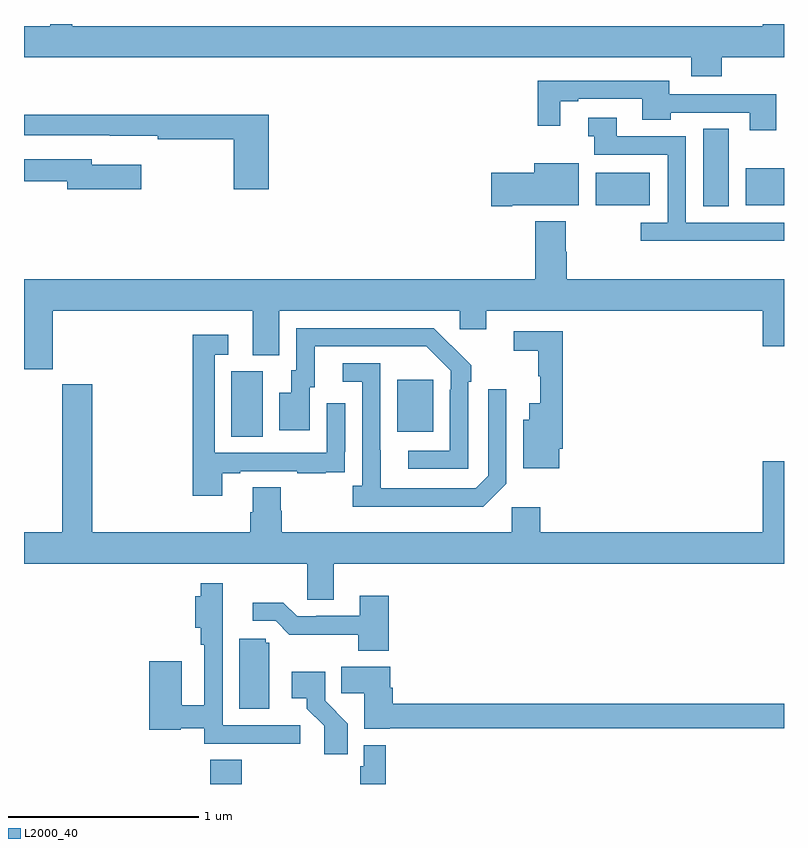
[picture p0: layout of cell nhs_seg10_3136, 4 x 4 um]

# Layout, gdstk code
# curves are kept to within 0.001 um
import gdstk
lib = gdstk.Library(unit=1e-6, precision=1e-09)
def R(c, l, rs):  # rectangles x0, y0, x1, y1
    for r in rs: c.add(gdstk.rectangle(r[:2], r[2:], *l))
def P(c, l, *ps):  # polygons
    for p in ps: c.add(gdstk.Polygon(p, *l))
L2000_40 = (2000, 40)

nhs_seg10_3136 = lib.new_cell('nhs_seg10_3136')
R(nhs_seg10_3136, L2000_40, [(281.981,1288.5,282.146,1288.628), (282.092,1290.328,282.256,1290.672), (282.965,1290.353,283.153,1290.628), (284.576,1291.54,284.71,1291.949), (284.009,1291.547,284.293,1291.717), (284.798,1291.547,285,1291.741)])
P(nhs_seg10_3136, L2000_40, [(284.673,1292.324),(285,1292.324),(285,1292.5),(284.888,1292.5),(284.888,1292.488),(281.255,1292.488),(281.255,1292.5),(281.138,1292.5),(281.138,1292.488),(281,1292.488),(281,1292.324),(284.513,1292.324),(284.513,1292.225),(284.673,1292.225)],
  [(284.959,1292.13),(284.395,1292.13),(284.395,1292.202),(283.705,1292.202),(283.705,1291.965),(283.822,1291.965),(283.822,1292.094),(283.918,1292.094),(283.918,1292.106),(284.255,1292.106),(284.255,1291.997),(284.403,1291.997),(284.403,1292.034),(284.819,1292.034),(284.819,1291.941),(284.959,1291.941)],
  [(282.287,1292.023),(281,1292.023),(281,1291.914),(281.452,1291.914),(281.452,1291.913),(281.704,1291.913),(281.704,1291.894),(282.104,1291.894),(282.104,1291.629),(282.287,1291.629)],
  [(284.999,1291.359),(285,1291.359),(285,1291.455),(284.484,1291.455),(284.484,1291.908),(284.119,1291.908),(284.119,1292.007),(283.971,1292.007),(283.971,1291.91),(284.002,1291.91),(284.002,1291.812),(284.388,1291.812),(284.388,1291.455),(284.247,1291.455),(284.247,1291.358),(284.999,1291.358)],
  [(281.617,1291.759),(281.356,1291.759),(281.356,1291.788),(281,1291.788),(281,1291.672),(281.228,1291.672),(281.228,1291.63),(281.617,1291.63)],
  [(283.57,1291.547),(283.921,1291.547),(283.921,1291.768),(283.685,1291.768),(283.685,1291.718),(283.458,1291.718),(283.458,1291.54),(283.57,1291.54)],
  [(281.152,1290.992),(282.203,1290.992),(282.203,1290.757),(282.343,1290.757),(282.343,1290.992),(283.293,1290.992),(283.293,1290.894),(283.432,1290.894),(283.432,1290.992),(284.888,1290.992),(284.888,1290.804),(285,1290.804),(285,1291.156),(283.856,1291.156),(283.856,1291.301),(283.851,1291.301),(283.851,1291.462),(283.691,1291.462),(283.691,1291.156),(281,1291.156),(281,1290.683),(281.152,1290.683)],
  [(283.338,1290.617),(283.353,1290.617),(283.353,1290.705),(283.156,1290.9),(282.432,1290.9),(282.432,1290.678),(282.407,1290.678),(282.407,1290.559),(282.344,1290.559),(282.344,1290.363),(282.505,1290.363),(282.505,1290.588),(282.529,1290.588),(282.529,1290.804),(283.117,1290.804),(283.245,1290.675),(283.245,1290.575),(283.242,1290.575),(283.242,1290.255),(283.023,1290.255),(283.023,1290.159),(283.338,1290.159)],
  [(283.816,1290.265),(283.835,1290.265),(283.835,1290.882),(283.578,1290.882),(283.578,1290.781),(283.707,1290.781),(283.707,1290.645),(283.718,1290.645),(283.718,1290.505),(283.658,1290.505),(283.658,1290.418),(283.628,1290.418),(283.628,1290.161),(283.816,1290.161)],
  [(282.043,1290.135),(282.139,1290.135),(282.139,1290.147),(282.439,1290.147),(282.439,1290.135),(282.587,1290.135),(282.587,1290.141),(282.689,1290.141),(282.689,1290.25),(282.69,1290.25),(282.69,1290.505),(282.594,1290.505),(282.594,1290.243),(282.003,1290.243),(282.003,1290.759),(282.076,1290.759),(282.076,1290.865),(281.887,1290.865),(281.887,1290.018),(282.043,1290.018)],
  [(283.539,1290.081),(283.539,1290.577),(283.443,1290.577),(283.443,1290.123),(283.377,1290.057),(282.877,1290.057),(282.876,1290.714),(282.678,1290.714),(282.678,1290.618),(282.78,1290.618),(282.78,1290.07),(282.729,1290.07),(282.729,1289.96),(283.418,1289.96)],
  [(282.631,1289.66),(285,1289.66),(285,1290.199),(284.888,1290.199),(284.888,1289.824),(283.718,1289.824),(283.718,1289.956),(283.566,1289.956),(283.566,1289.824),(282.356,1289.824),(282.356,1289.937),(282.351,1289.937),(282.351,1290.062),(282.203,1290.062),(282.203,1289.93),(282.191,1289.93),(282.191,1289.824),(281.36,1289.824),(281.36,1290.604),(281.2,1290.604),(281.2,1289.824),(281,1289.824),(281,1289.66),(282.492,1289.66),(282.492,1289.47),(282.631,1289.47)],
  [(282.454,1288.809),(282.045,1288.809),(282.045,1289.334),(282.046,1289.334),(282.046,1289.557),(281.929,1289.557),(281.929,1289.488),(281.9,1289.488),(281.9,1289.323),(281.929,1289.323),(281.929,1289.234),(281.949,1289.234),(281.949,1288.915),(281.83,1288.915),(281.83,1289.146),(281.66,1289.146),(281.66,1288.786),(281.826,1288.786),(281.826,1288.794),(281.949,1288.794),(281.949,1288.713),(282.229,1288.713),(282.229,1288.711),(282.454,1288.711)],
  [(282.92,1289.491),(282.767,1289.491),(282.767,1289.385),(282.538,1289.385),(282.538,1289.382),(282.438,1289.382),(282.365,1289.455),(282.204,1289.455),(282.204,1289.358),(282.324,1289.358),(282.397,1289.285),(282.76,1289.286),(282.76,1289.201),(282.92,1289.201)],
  [(282.292,1289.244),(282.273,1289.244),(282.273,1289.265),(282.134,1289.265),(282.134,1288.896),(282.292,1288.896)],
  [(282.924,1288.794),(285,1288.794),(285,1288.922),(282.941,1288.922),(282.941,1289.006),(282.928,1289.006),(282.928,1289.116),(282.67,1289.116),(282.67,1288.978),(282.791,1288.978),(282.791,1288.79),(282.924,1288.79)],
  [(282.704,1288.818),(282.585,1288.937),(282.585,1289.092),(282.408,1289.092),(282.408,1288.952),(282.488,1288.952),(282.488,1288.897),(282.579,1288.807),(282.579,1288.656),(282.704,1288.656)],
  [(282.905,1288.705),(282.789,1288.705),(282.789,1288.593),(282.769,1288.593),(282.769,1288.5),(282.905,1288.5)])

lib.write_gds('nhs_seg10_3136.gds')
